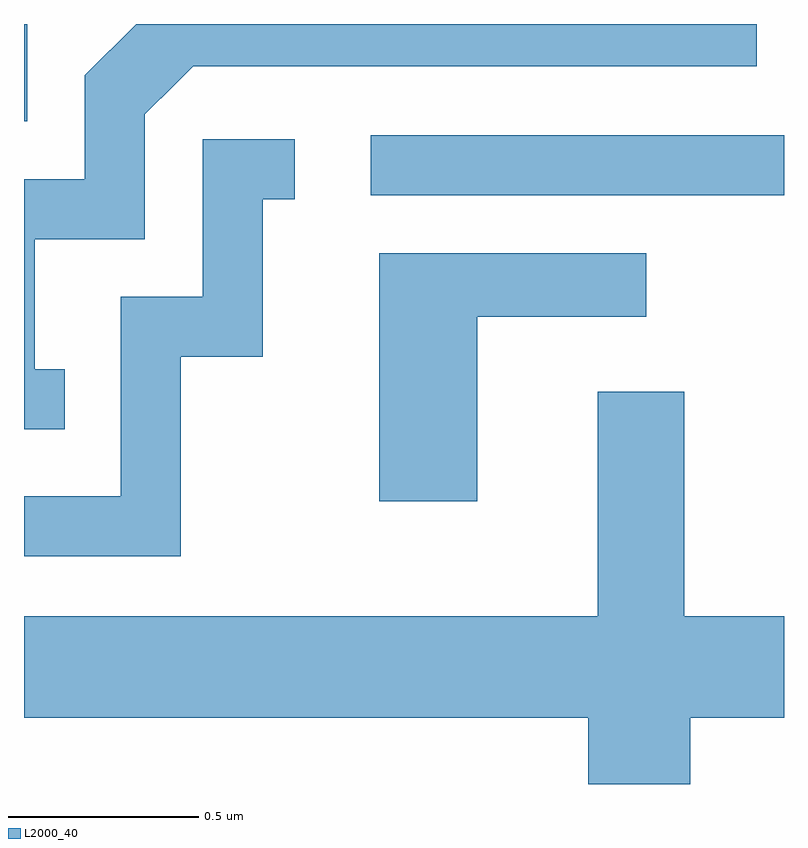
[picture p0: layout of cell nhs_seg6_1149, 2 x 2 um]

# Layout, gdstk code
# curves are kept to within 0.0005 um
import gdstk
lib = gdstk.Library(unit=1e-6, precision=1e-09)
def R(c, l, rs):  # rectangles x0, y0, x1, y1
    for r in rs: c.add(gdstk.rectangle(r[:2], r[2:], *l))
def P(c, l, *ps):  # polygons
    for p in ps: c.add(gdstk.Polygon(p, *l))
L2000_40 = (2000, 40)

nhs_seg6_1149 = lib.new_cell('nhs_seg6_1149')
R(nhs_seg6_1149, L2000_40, [(194.523,1584.711,195.611,1584.869), (193.611,1584.906,193.619,1585.162)])
P(nhs_seg6_1149, L2000_40, [(193.718,1584.254),(193.639,1584.254),(193.639,1584.596),(193.929,1584.596),(193.929,1584.924),(194.057,1585.051),(195.539,1585.051),(195.539,1585.162),(193.907,1585.162),(193.771,1585.027),(193.771,1584.754),(193.611,1584.754),(193.611,1584.096),(193.718,1584.096)],
  [(194.024,1584.286),(194.239,1584.286),(194.239,1584.701),(194.323,1584.701),(194.323,1584.859),(194.081,1584.859),(194.081,1584.444),(193.866,1584.444),(193.866,1583.919),(193.611,1583.919),(193.611,1583.761),(194.024,1583.761)],
  [(194.804,1584.391),(195.248,1584.391),(195.248,1584.559),(194.546,1584.559),(194.546,1583.906),(194.804,1583.906)],
  [(195.364,1583.336),(195.611,1583.336),(195.611,1583.604),(195.349,1583.604),(195.349,1584.194),(195.121,1584.194),(195.121,1583.604),(193.611,1583.604),(193.611,1583.336),(195.096,1583.336),(195.096,1583.162),(195.364,1583.162)])

lib.write_gds('nhs_seg6_1149.gds')
